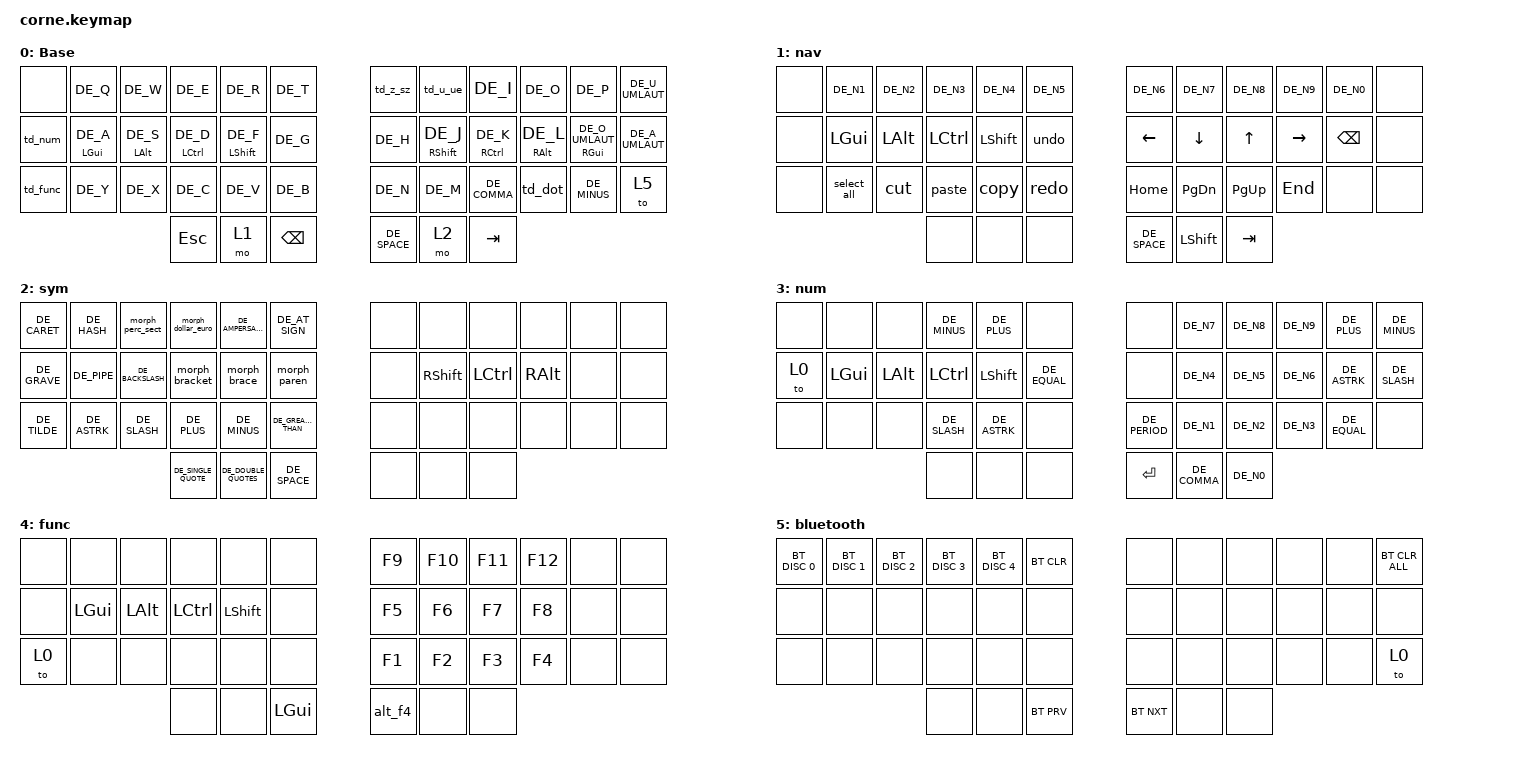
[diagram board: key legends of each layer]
#include <behaviors.dtsi>
#include <dt-bindings/zmk/bt.h>
#include <dt-bindings/zmk/keys.h>
#include "keys_de.h"

/ {
    behaviors {
        ht_1: ht_1 {
            compatible = "zmk,behavior-hold-tap";
            label = "HT_1";
            #binding-cells = <2>;
            flavor = "tap-preferred";
            tapping-term-ms = <180>;
            quick-tap-ms = <0>;

            /* FIX: no comma, two behavior refs in one <> */
            bindings = <&kp &kp>;
        };

        td_u_ue: td_u_ue {
            compatible = "zmk,behavior-tap-dance";
            label = "TD_U_UE";
            #binding-cells = <0>;
            bindings = <&kp DE_U>, <&kp DE_U_UMLAUT>;
        };

        td_z_sz: td_z_sz {
            compatible = "zmk,behavior-tap-dance";
            label = "TD_Z_SZ";
            #binding-cells = <0>;
            bindings = <&kp DE_Z>, <&kp DE_SZ>;
        };

        td_dot: td_dot {
            compatible = "zmk,behavior-tap-dance";
            label = "TD_DOT";
            #binding-cells = <0>;
            bindings = <&kp DE_PERIOD>, <&ht_1 DE_EXCLAMATION DE_QUESTION>;
        };

        /*
         * Klammern: Mod-Morph soll bleiben (Shift als Selector),
         * aber Ausgabe über Makros, damit AltGr/Shift nicht "leaken".
         */
        morph_brace: morph_brace {
            compatible = "zmk,behavior-mod-morph";
            label = "MORPH_BRACE";
            #binding-cells = <0>;
            /* FIX: DT-sichere Mods-Liste */
            mods = <MOD_LSFT MOD_RSFT>;
            bindings = <&lbrace>, <&rbrace>;
        };

        morph_paren: morph_paren {
            compatible = "zmk,behavior-mod-morph";
            label = "MORPH_PAREN";
            #binding-cells = <0>;
            mods = <MOD_LSFT MOD_RSFT>;
            bindings = <&lparen>, <&rparen>;
        };

        morph_bracket: morph_bracket {
            compatible = "zmk,behavior-mod-morph";
            label = "MORPH_BRACKET";
            #binding-cells = <0>;
            mods = <MOD_LSFT MOD_RSFT>;
            bindings = <&lbracket>, <&rbracket>;
        };

        morph_slash: morph_slash {
            compatible = "zmk,behavior-mod-morph";
            label = "MORPH_SLASH";
            bindings = <&kp DE_SLASH>, <&kp DE_BACKSLASH>;

            #binding-cells = <0>;
            mods = <MOD_LSFT MOD_RSFT>;
        };

        morph_dollar_euro: morph_dollar_euro {
            compatible = "zmk,behavior-mod-morph";
            label = "MORPH_DOLLAR_EURO";
            bindings = <&kp DE_DOLLAR>, <&kp DE_EURO>;

            #binding-cells = <0>;
            mods = <MOD_LSFT MOD_RSFT>;
        };

        morph_perc_sect: morph_perc_sect {
            compatible = "zmk,behavior-mod-morph";
            label = "MORPH_PERC_SECT";
            bindings = <&kp DE_PERCENT>, <&kp DE_SECT>;

            #binding-cells = <0>;
            mods = <MOD_LSFT MOD_RSFT>;
        };

        td_num: td_num {
            compatible = "zmk,behavior-tap-dance";
            label = "TD_NUM";
            #binding-cells = <0>;
            bindings = <&mo 3>, <&tog 3>;
        };

        td_func: td_func {
            compatible = "zmk,behavior-tap-dance";
            label = "TD_FUNC";
            #binding-cells = <0>;
            bindings = <&mo 4>, <&tog 4>;
        };
    };

    combos {
        compatible = "zmk,combos";

        C_Enter {
            bindings = <&kp RET>;
            key-positions = <16 19>;
        };
    };

    macros {
        copy: copy {
            compatible = "zmk,behavior-macro";
            #binding-cells = <0>;
            bindings = <
                &macro_press   &kp LCTRL
                &macro_tap     &kp C
                &macro_release &kp LCTRL
            >;
            label = "COPY";
        };

        paste: paste {
            compatible = "zmk,behavior-macro";
            #binding-cells = <0>;
            bindings = <
                &macro_press   &kp LCTRL
                &macro_tap     &kp V
                &macro_release &kp LCTRL
            >;
            label = "PASTE";
        };

        select_all: select_all {
            compatible = "zmk,behavior-macro";
            #binding-cells = <0>;
            bindings = <
                &macro_press   &kp LCTRL
                &macro_tap     &kp A
                &macro_release &kp LCTRL
            >;
            label = "SELECT_ALL";
        };

        cut: cut {
            compatible = "zmk,behavior-macro";
            #binding-cells = <0>;
            bindings = <
                &macro_press   &kp LCTRL
                &macro_tap     &kp X
                &macro_release &kp LCTRL
            >;
            label = "CUT";
        };

        undo: undo {
            compatible = "zmk,behavior-macro";
            #binding-cells = <0>;
            bindings = <
                &macro_press   &kp LCTRL
                &macro_tap     &kp DE_Z
                &macro_release &kp LCTRL
            >;
            label = "UNDO";
        };

        redo: redo {
            compatible = "zmk,behavior-macro";
            #binding-cells = <0>;
            bindings = <
                &macro_press   &kp LCTRL
                &macro_tap     &kp DE_Y
                &macro_release &kp LCTRL
            >;
            label = "REDO";
        };

        find: find {
            compatible = "zmk,behavior-macro";
            #binding-cells = <0>;
            bindings = <
                &macro_press   &kp LCTRL
                &macro_tap     &kp DE_F
                &macro_release &kp LCTRL
            >;
            label = "FIND";
        };

        find_and_replace: find_and_replace {
            compatible = "zmk,behavior-macro";
            #binding-cells = <0>;
            bindings = <
                &macro_press   &kp LCTRL
                &macro_tap     &kp DE_H
                &macro_release &kp LCTRL
            >;
            label = "FIND_AND_REPLACE";
        };

        alt_f4: macro_alt_f4 {
            compatible = "zmk,behavior-macro";
            #binding-cells = <0>;
            bindings = <
                &macro_press   &kp LALT
                &macro_tap     &kp F4
                &macro_release &kp LALT
            >;
            label = "MACRO_ALT_F4";
        };

        /*
         * NEW: robust bracket/brace/paren macros (Shift is still the selector via mod-morph).
         * Notes:
         * - {} and [] on DE use AltGr (RALT) + number row keys.
         * - () uses Shift+8 / Shift+9; we emit '(' via explicit shift press/release,
         *   but emit ')' as plain 9 because Shift is already held for the morphed variant.
         */

        lbrace: lbrace {
            compatible = "zmk,behavior-macro";
            label = "LBRACE";
            #binding-cells = <0>;
            bindings = <
                &macro_press   &kp RALT
                &macro_tap     &kp DE_N7
                &macro_release &kp RALT
            >;
        };

        rbrace: rbrace {
            compatible = "zmk,behavior-macro";
            label = "RBRACE";
            #binding-cells = <0>;
            bindings = <
                &macro_press   &kp RALT
                &macro_tap     &kp DE_N0
                &macro_release &kp RALT
            >;
        };

        lbracket: lbracket {
            compatible = "zmk,behavior-macro";
            label = "LBRACKET";
            #binding-cells = <0>;
            bindings = <
                &macro_press   &kp RALT
                &macro_tap     &kp DE_N8
                &macro_release &kp RALT
            >;
        };

        rbracket: rbracket {
            compatible = "zmk,behavior-macro";
            label = "RBRACKET";
            #binding-cells = <0>;
            bindings = <
                &macro_press   &kp RALT
                &macro_tap     &kp DE_N9
                &macro_release &kp RALT
            >;
        };

        lparen: lparen {
            compatible = "zmk,behavior-macro";
            label = "LPAREN";
            #binding-cells = <0>;
            bindings = <
                &macro_press   &kp LSHIFT
                &macro_tap     &kp DE_N8
                &macro_release &kp LSHIFT
            >;
        };

        rparen: rparen {
            compatible = "zmk,behavior-macro";
            label = "RPAREN";
            #binding-cells = <0>;
            bindings = <
                &macro_tap     &kp DE_N9
            >;
        };
    };

    keymap {
        compatible = "zmk,keymap";

        default_layer {
            display-name = "Base";
            bindings = <
                &none           &kp DE_Q         &kp DE_W         &kp DE_E          &kp DE_R          &kp DE_T         &td_z_sz      &td_u_ue          &kp DE_I          &kp DE_O         &kp DE_P                &kp DE_U_UMLAUT
                &td_num         &ht_1 LGUI DE_A  &ht_1 LALT DE_S  &ht_1 LCTRL DE_D  &ht_1 LSHFT DE_F  &kp DE_G         &kp DE_H      &ht_1 RSHFT DE_J  &ht_1 RCTRL DE_K  &ht_1 RALT DE_L  &ht_1 RGUI DE_O_UMLAUT  &kp DE_A_UMLAUT
                &td_func        &kp DE_Y         &kp DE_X         &kp DE_C          &kp DE_V          &kp DE_B         &kp DE_N      &kp DE_M          &kp DE_COMMA      &td_dot          &kp DE_MINUS            &to 5
                                                                  &kp ESC          &mo 1             &kp BACKSPACE    &kp DE_SPACE  &mo 2             &kp TAB
            >;
        };

        nav {
            display-name = "nav";
            bindings = <
                &none  &kp DE_N1    &kp DE_N2  &kp DE_N3  &kp DE_N4   &kp DE_N5    &kp DE_N6     &kp DE_N7   &kp DE_N8  &kp DE_N9  &kp DE_N0      &none
                &none  &kp LGUI     &kp LALT   &kp LCTRL  &kp LSHIFT  &undo        &kp LEFT      &kp DOWN    &kp UP     &kp RIGHT  &kp BACKSPACE  &none
                &none  &select_all  &cut       &paste     &copy       &redo        &kp HOME      &kp PG_DN   &kp PG_UP  &kp END    &none          &none
                                               &none      &none       &none        &kp DE_SPACE  &kp LSHIFT  &kp TAB
            >;
        };

        sym {
            display-name = "sym";
            bindings = <
                &kp DE_CARET  &kp DE_HASH   &morph_perc_sect      &morph_dollar_euro   &kp DE_AMPERSAND      &kp DE_AT_SIGN         &none  &none       &none      &none          &none  &none
                &kp DE_GRAVE  &kp DE_PIPE   &kp DE_BACKSLASH      &morph_bracket       &morph_brace          &morph_paren           &none  &kp RSHIFT  &kp LCTRL  &kp RIGHT_ALT  &none  &none
                &kp DE_TILDE  &kp DE_ASTRK  &kp DE_SLASH          &kp DE_PLUS          &kp DE_MINUS          &kp DE_GREATER_THAN    &none  &none       &none      &none          &none  &none
                                                              &kp DE_SINGLE_QUOTE  &kp DE_DOUBLE_QUOTES  &kp DE_SPACE           &none  &none       &none
            >;
        };

        num {
            display-name = "num";
            bindings = <
                &none   &none     &none     &kp DE_MINUS  &kp DE_PLUS   &none           &none          &kp DE_N7     &kp DE_N8  &kp DE_N9  &kp DE_PLUS   &kp DE_MINUS
                &to 0   &kp LGUI  &kp LALT  &kp LCTRL     &kp LSHFT     &kp DE_EQUAL    &none          &kp DE_N4     &kp DE_N5  &kp DE_N6  &kp DE_ASTRK  &kp DE_SLASH
                &none   &none     &none     &kp DE_SLASH  &kp DE_ASTRK  &none           &kp DE_PERIOD  &kp DE_N1     &kp DE_N2  &kp DE_N3  &kp DE_EQUAL  &none
                                            &none         &none         &none           &kp RET        &kp DE_COMMA  &kp DE_N0
            >;
        };

        func {
            display-name = "func";
            bindings = <
                &none  &none     &none     &none      &none       &none       &kp F9   &kp F10  &kp F11  &kp F12  &none  &none
                &none  &kp LGUI  &kp LALT  &kp LCTRL  &kp LSHIFT  &none       &kp F5   &kp F6   &kp F7   &kp F8   &none  &none
                &to 0  &none     &none     &none      &none       &none       &kp F1   &kp F2   &kp F3   &kp F4   &none  &none
                                           &none      &none       &kp LGUI    &alt_f4  &none    &none
            >;
        };

        bluetooth {
            display-name = "bluetooth";
            bindings = <
                &bt BT_DISC 0  &bt BT_DISC 1  &bt BT_DISC 2  &bt BT_DISC 3  &bt BT_DISC 4  &bt BT_CLR    &none       &none  &none  &none  &none  &bt BT_CLR_ALL
                &none          &none          &none          &none          &none          &none         &none       &none  &none  &none  &none  &none
                &none          &none          &none          &none          &none          &none         &none       &none  &none  &none  &none  &to 0
                                                             &none          &none          &bt BT_PRV    &bt BT_NXT  &none  &none
            >;
        };
    };
};
